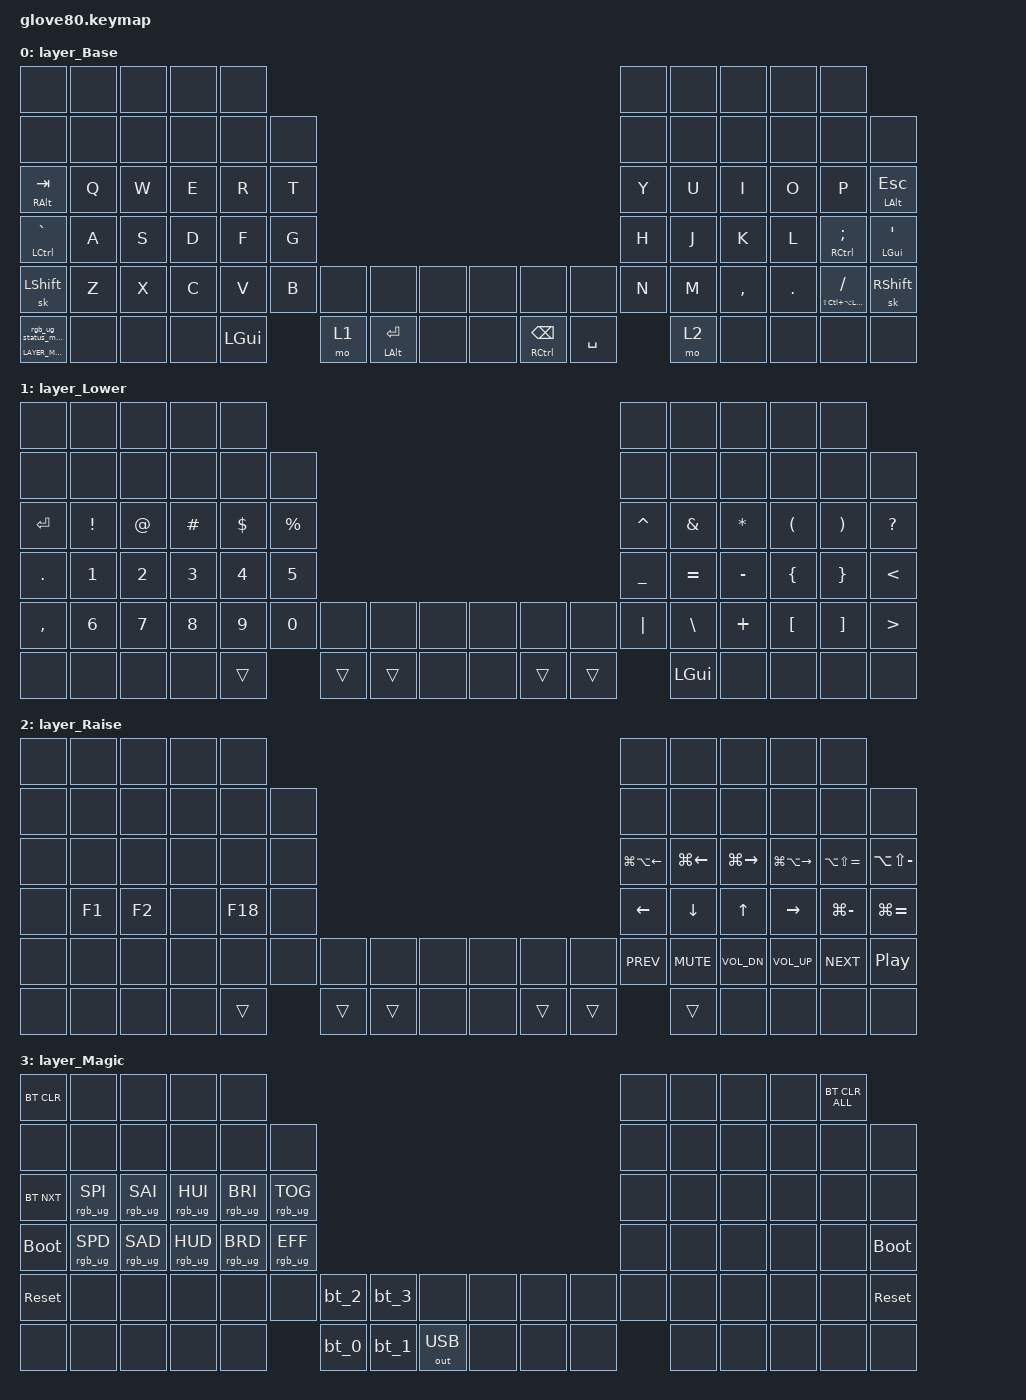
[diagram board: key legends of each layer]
/*
 * Copyright (c) 2020 The ZMK Contributors
 * Copyright (c) 2025 Innaworks Development Limited, trading as MoErgo
 *
 * SPDX-License-Identifier: MIT
 */


/* THIS FILE WAS GENERATED BY GLOVE80 LAYOUT EDITOR
 *
 * This file was generated automatically. You may or may not want to
 * edit it directly.
 */

#include <behaviors.dtsi>
/* Include all behavior includes needed */
#include <dt-bindings/zmk/outputs.h>
#include <dt-bindings/zmk/keys.h>
#include <dt-bindings/zmk/bt.h>
#include <dt-bindings/zmk/rgb.h>

/* On demand includes */


/* Helper Macros, based on https://github.com/urob/zmk-helpers/ */

#pragma once

#define ZMK_HELPER_STRINGIFY(x) #x

// Preprocessor mechanism to overload macros, cf. https://stackoverflow.com/a/27051616/6114651
#define VARGS_(_10, _9, _8, _7, _6, _5, _4, _3, _2, _1, N, ...) N
#define VARGS(...) VARGS_(__VA_ARGS__, 10, 9, 8, 7, 6, 5, 4, 3, 2, 1, 0)
#define CONCAT_(a, b) a##b
#define CONCAT(a, b) CONCAT_(a, b)

#define ZMK_BEHAVIOR_CORE_tap_dance  \
    compatible = "zmk,behavior-tap-dance"; \
    #binding-cells = <0>

#define ZMK_BEHAVIOR(name, type, ...) \
    name: name { \
        ZMK_BEHAVIOR_CORE_ ## type; \
        __VA_ARGS__ \
    };

#define ZMK_TAP_DANCE(name, ...) \
    ZMK_BEHAVIOR(name, tap_dance, __VA_ARGS__)

#define ZMK_TD_LAYER(name, layer) \
    ZMK_TAP_DANCE(name, \
        tapping-term-ms = <200>; \
        bindings = <&mo layer>, <&to layer>; \
)

/* Automatically generated layer name #define */
#define LAYER_Base 0
#define LAYER_Lower 1
#define LAYER_Raise 2
#define LAYER_Magic 3

/* To deal with the situation where there is no Lower layer, to keep &lower happy */
#ifndef LAYER_Lower
#define LAYER_Lower 0
#endif

/* Custom Device-tree */
&mt {
    tapping-term-ms = <180>;
    flavor = "tap-preferred";
    retro-tap;
};

&sk {
    release-after-ms = <2000>;
    quick-release;
};

/* Input Listeners */


/* System behavior and Macros */
/ {
    behaviors {
        ZMK_TD_LAYER(lower, LAYER_Lower)
    };
};

/ {
    macros {
        rgb_ug_status_macro: rgb_ug_status_macro {
            label = "RGB_UG_STATUS";
            compatible = "zmk,behavior-macro";
            #binding-cells = <0>;
            bindings
                = <&rgb_ug RGB_STATUS>;
        };
    };
};


/ {
#ifdef BT_DISC_CMD
    behaviors {
        bt_0: bt_0 {
            compatible = "zmk,behavior-tap-dance";
            label = "BT_0";
            #binding-cells = <0>;
            tapping-term-ms = <200>;
            bindings = <&bt_select_0>, <&bt BT_DISC 0>;
        };
        bt_1: bt_1 {
            compatible = "zmk,behavior-tap-dance";
            label = "BT_1";
            #binding-cells = <0>;
            tapping-term-ms = <200>;
            bindings = <&bt_select_1>, <&bt BT_DISC 1>;
        };
        bt_2: bt_2 {
            compatible = "zmk,behavior-tap-dance";
            label = "BT_2";
            #binding-cells = <0>;
            tapping-term-ms = <200>;
            bindings = <&bt_select_2>, <&bt BT_DISC 2>;
        };
        bt_3: bt_3 {
            compatible = "zmk,behavior-tap-dance";
            label = "BT_3";
            #binding-cells = <0>;
            tapping-term-ms = <200>;
            bindings = <&bt_select_3>, <&bt BT_DISC 3>;
        };
    };
    macros {
        bt_select_0: bt_select_0 {
            label = "BT_SELECT_0";
            compatible = "zmk,behavior-macro";
            #binding-cells = <0>;
            bindings
                = <&out OUT_BLE>,
                  <&bt BT_SEL 0>;
        };
        bt_select_1: bt_select_1 {
            label = "BT_SELECT_1";
            compatible = "zmk,behavior-macro";
            #binding-cells = <0>;
            bindings
                = <&out OUT_BLE>,
                  <&bt BT_SEL 1>;
        };
        bt_select_2: bt_select_2 {
            label = "BT_SELECT_2";
            compatible = "zmk,behavior-macro";
            #binding-cells = <0>;
            bindings
                = <&out OUT_BLE>,
                  <&bt BT_SEL 2>;
        };
        bt_select_3: bt_select_3 {
            label = "BT_SELECT_3";
            compatible = "zmk,behavior-macro";
            #binding-cells = <0>;
            bindings
                = <&out OUT_BLE>,
                  <&bt BT_SEL 3>;
        };
    };
#else
    macros {
        bt_0: bt_0 {
            label = "BT_0";
            compatible = "zmk,behavior-macro";
            #binding-cells = <0>;
            bindings
                = <&out OUT_BLE>,
                  <&bt BT_SEL 0>;
        };
        bt_1: bt_1 {
            label = "BT_1";
            compatible = "zmk,behavior-macro";
            #binding-cells = <0>;
            bindings
                = <&out OUT_BLE>,
                  <&bt BT_SEL 1>;
        };
        bt_2: bt_2 {
            label = "BT_2";
            compatible = "zmk,behavior-macro";
            #binding-cells = <0>;
            bindings
                = <&out OUT_BLE>,
                  <&bt BT_SEL 2>;
        };
        bt_3: bt_3 {
            label = "BT_3";
            compatible = "zmk,behavior-macro";
            #binding-cells = <0>;
            bindings
                = <&out OUT_BLE>,
                  <&bt BT_SEL 3>;
        };
    };
#endif
};

/ {
    behaviors {
        magic: magic {
            compatible = "zmk,behavior-hold-tap";
            label = "MAGIC_HOLD_TAP";
            #binding-cells = <2>;
            flavor = "tap-preferred";
            tapping-term-ms = <200>;
            bindings = <&mo>, <&rgb_ug_status_macro>;
        };
    };
};

/* #define for key positions */
#define POS_LH_T1 52
#define POS_LH_T2 53
#define POS_LH_T3 54
#define POS_LH_T4 69
#define POS_LH_T5 70
#define POS_LH_T6 71
#define POS_LH_C1R2 15
#define POS_LH_C1R3 27
#define POS_LH_C1R4 39
#define POS_LH_C1R5 51
#define POS_LH_C2R1 4
#define POS_LH_C2R2 14
#define POS_LH_C2R3 26
#define POS_LH_C2R4 38
#define POS_LH_C2R5 50
#define POS_LH_C2R6 68
#define POS_LH_C3R1 3
#define POS_LH_C3R2 13
#define POS_LH_C3R3 25
#define POS_LH_C3R4 37
#define POS_LH_C3R5 49
#define POS_LH_C3R6 67
#define POS_LH_C4R1 2
#define POS_LH_C4R2 12
#define POS_LH_C4R3 24
#define POS_LH_C4R4 36
#define POS_LH_C4R5 48
#define POS_LH_C4R6 66
#define POS_LH_C5R1 1
#define POS_LH_C5R2 11
#define POS_LH_C5R3 23
#define POS_LH_C5R4 35
#define POS_LH_C5R5 47
#define POS_LH_C5R6 65
#define POS_LH_C6R1 0
#define POS_LH_C6R2 10
#define POS_LH_C6R3 22
#define POS_LH_C6R4 34
#define POS_LH_C6R5 46
#define POS_LH_C6R6 64
#define POS_RH_T1 57
#define POS_RH_T2 56
#define POS_RH_T3 55
#define POS_RH_T4 74
#define POS_RH_T5 73
#define POS_RH_T6 72
#define POS_RH_C1R2 16
#define POS_RH_C1R3 28
#define POS_RH_C1R4 40
#define POS_RH_C1R5 58
#define POS_RH_C2R1 5
#define POS_RH_C2R2 17
#define POS_RH_C2R3 29
#define POS_RH_C2R4 41
#define POS_RH_C2R5 59
#define POS_RH_C2R6 75
#define POS_RH_C3R1 6
#define POS_RH_C3R2 18
#define POS_RH_C3R3 30
#define POS_RH_C3R4 42
#define POS_RH_C3R5 60
#define POS_RH_C3R6 76
#define POS_RH_C4R1 7
#define POS_RH_C4R2 19
#define POS_RH_C4R3 31
#define POS_RH_C4R4 43
#define POS_RH_C4R5 61
#define POS_RH_C4R6 77
#define POS_RH_C5R1 8
#define POS_RH_C5R2 20
#define POS_RH_C5R3 32
#define POS_RH_C5R4 44
#define POS_RH_C5R5 62
#define POS_RH_C5R6 78
#define POS_RH_C6R1 9
#define POS_RH_C6R2 21
#define POS_RH_C6R3 33
#define POS_RH_C6R4 45
#define POS_RH_C6R5 63
#define POS_RH_C6R6 79

/* Custom Defined Behaviors */
/ {

#define HYP(key) LS(LC(LA(LG(key))))
#define HYPER LS(LC(LA(LGUI)))
#define MACLOCK  LG(LC(Q))
#define EMPTYBIN LG(LS(BACKSPACE))

#define BROWSER_NEWTAB LG(T)
#define BROWSER_CLOSETAB LG(W)
#define BROWSER_NEXTTAB LG(LA(RIGHT))
#define BROWSER_PREVTAB LG(LA(LEFT))
#define BROWSER_NEXTPAGE LG(RIGHT)
#define BROWSER_PREVPAGE LG(LEFT)

// NOTE: Use the `#define` settings below to customize this keymap!
// For example, here are the main optional features you can enable:
#define DIFFICULTY_LEVEL  0 // 0:custom, 1:easy -> 5:hard (see below)
// TIP: Add more setting overrides here instead of editing them below.

//////////////////////////////////////////////////////////////////////////////
//
// Advanced Home Row Mods (HRM) Example based on
// Sunaku's Keymap v35 -- "Glorious Engrammer"
// - https://github.com/sunaku/glove80-keymaps
//
//////////////////////////////////////////////////////////////////////////////

//
// DIFFICULTY_LEVEL specifies your level of expertise with this keymap.
// It's meant to help newcomers gradually work their way up to mastery.
// You can disable this setting by omitting it or assigning a `0` zero.
//
// #define DIFFICULTY_LEVEL 0 // custom (see defaults below)
// #define DIFFICULTY_LEVEL 1 // novice (500ms)
// #define DIFFICULTY_LEVEL 2 // slower (400ms)
// #define DIFFICULTY_LEVEL 3 // normal (300ms)
#define DIFFICULTY_LEVEL 4 // faster (200ms)
// #define DIFFICULTY_LEVEL 5 // expert (100ms)
//
#if defined(DIFFICULTY_LEVEL) && DIFFICULTY_LEVEL > 0
#define DIFFICULTY_THRESHOLD ((6-DIFFICULTY_LEVEL)*100)
#ifndef HOMEY_HOLDING_TIME
#define HOMEY_HOLDING_TIME DIFFICULTY_THRESHOLD
#endif
#ifndef INDEX_HOLDING_TIME
#define INDEX_HOLDING_TIME DIFFICULTY_THRESHOLD
#endif
#endif

behaviors {

    //////////////////////////////////////////////////////////////////////////
    //
    // Miryoku layers and home row mods (ported from my QMK endgame)
    // - https://sunaku.github.io/home-row-mods.html#porting-to-zmk
    // - https://github.com/urob/zmk-config#timeless-homerow-mods
    //
    //////////////////////////////////////////////////////////////////////////

    //
    // HOMEY_HOLDING_TYPE defines the flavor of ZMK hold-tap behavior to use
    // for the pinky, ring, and middle fingers (which are assigned to Super,
    // Alt, and Ctrl respectively in the Miryoku system) on home row keys.
    //
    #ifndef HOMEY_HOLDING_TYPE
    #define HOMEY_HOLDING_TYPE "tap-preferred"
    #endif

    //
    // HOMEY_HOLDING_TIME defines how long you need to hold (milliseconds)
    // home row mod keys in order to send their modifiers to the computer
    // (i.e. "register" them) for mod-click mouse usage (e.g. Ctrl-Click).
    //
    #ifndef HOMEY_HOLDING_TIME
    #define HOMEY_HOLDING_TIME 270 // TAPPING_TERM + ALLOW_CROSSOVER_AFTER
    #endif

    //
    // HOMEY_STREAK_DECAY defines how long you need to wait (milliseconds)
    // after typing before you can use home row mods again.  It prevents
    // unintended activation of home row mods when you're actively typing.
    //
    #ifndef HOMEY_STREAK_DECAY
    #define HOMEY_STREAK_DECAY 250
    #endif

    //
    // HOMEY_REPEAT_DECAY defines how much time you have left (milliseconds)
    // after tapping a key to hold it again in order to make it auto-repeat.
    //
    #ifndef HOMEY_REPEAT_DECAY
    #define HOMEY_REPEAT_DECAY 300 // "tap then hold" for key auto-repeat
    #endif

    //
    // INDEX_HOLDING_TYPE defines the flavor of ZMK hold-tap behavior to use
    // for index fingers (which Miryoku assign to Shift) on home row keys.
    //
    #ifndef INDEX_HOLDING_TYPE
    #define INDEX_HOLDING_TYPE "tap-preferred"
    #endif

    //
    // INDEX_HOLDING_TIME defines how long you need to hold (milliseconds)
    // index finger keys in order to send their modifiers to the computer
    // (i.e. "register" them) for mod-click mouse usage (e.g. Shift-Click).
    //
    #ifndef INDEX_HOLDING_TIME
    #define INDEX_HOLDING_TIME 170
    #endif

    //
    // INDEX_STREAK_DECAY defines how long you need to wait (milliseconds)
    // after typing before you can use home row mods again.  It prevents
    // unintended activation of home row mods when you're actively typing.
    //
    #ifndef INDEX_STREAK_DECAY
    #define INDEX_STREAK_DECAY 150
    #endif

    //
    // INDEX_REPEAT_DECAY defines how much time you have left (milliseconds)
    // after tapping a key to hold it again in order to make it auto-repeat.
    //
    #ifndef INDEX_REPEAT_DECAY
    #define INDEX_REPEAT_DECAY 300 // "tap then hold" for key auto-repeat
    #endif

    //
    // Glove80 key positions index for positional hold-tap
    // - https://discord.com/channels/877392805654306816/937645688244826154/1066713913351221248
    // - https://media.discordapp.net/attachments/937645688244826154/1066713913133121556/image.png
    //
    // |------------------------|------------------------|
    // | LEFT_HAND_KEYS         |        RIGHT_HAND_KEYS |
    // |                        |                        |
    // |  0  1  2  3  4         |          5  6  7  8  9 |
    // | 10 11 12 13 14 15      |      16 17 18 19 20 21 |
    // | 22 23 24 25 26 27      |      28 29 30 31 32 33 |
    // | 34 35 36 37 38 39      |      40 41 42 43 44 45 |
    // | 46 47 48 49 50 51      |      58 59 60 61 62 63 |
    // | 64 65 66 67 68         |         75 76 77 78 79 |
    // |                69 52   |   57 74                |
    // |                 70 53  |  56 73                 |
    // |                  71 54 | 55 72                  |
    // |------------------------|------------------------|
    //
    #define LEFT_HAND_KEYS      \
          0  1  2  3  4         \
         10 11 12 13 14 15      \
         22 23 24 25 26 27      \
         34 35 36 37 38 39      \
         46 47 48 49 50 51      \
         64 65 66 67 68
    #define RIGHT_HAND_KEYS     \
                                           5  6  7  8  9 \
                                       16 17 18 19 20 21 \
                                       28 29 30 31 32 33 \
                                       40 41 42 43 44 45 \
                                       58 59 60 61 62 63 \
                                          75 76 77 78 79
    #define THUMB_KEYS          \
                        69 52       57 74                \
                         70 53     56 73                 \
                          71 54   55 72

    //
    // Home row mods with per-finger configuration settings
    //
    #ifndef PINKY_HOLDING_TYPE
    #define PINKY_HOLDING_TYPE HOMEY_HOLDING_TYPE
    #endif
    #ifndef PINKY_HOLDING_TIME
    #define PINKY_HOLDING_TIME HOMEY_HOLDING_TIME
    #endif
    #ifndef PINKY_STREAK_DECAY
    #define PINKY_STREAK_DECAY HOMEY_STREAK_DECAY
    #endif
    #ifndef PINKY_REPEAT_DECAY
    #define PINKY_REPEAT_DECAY HOMEY_REPEAT_DECAY
    #endif
    #ifndef RING1_HOLDING_TYPE
    #define RING1_HOLDING_TYPE HOMEY_HOLDING_TYPE
    #endif
    #ifndef RING1_HOLDING_TIME
    #define RING1_HOLDING_TIME HOMEY_HOLDING_TIME
    #endif
    #ifndef RING1_STREAK_DECAY
    #define RING1_STREAK_DECAY HOMEY_STREAK_DECAY
    #endif
    #ifndef RING1_REPEAT_DECAY
    #define RING1_REPEAT_DECAY HOMEY_REPEAT_DECAY
    #endif
    #ifndef RING2_HOLDING_TYPE
    #define RING2_HOLDING_TYPE HOMEY_HOLDING_TYPE
    #endif
    #ifndef RING2_HOLDING_TIME
    #define RING2_HOLDING_TIME HOMEY_HOLDING_TIME
    #endif
    #ifndef RING2_STREAK_DECAY
    #define RING2_STREAK_DECAY HOMEY_STREAK_DECAY
    #endif
    #ifndef RING2_REPEAT_DECAY
    #define RING2_REPEAT_DECAY HOMEY_REPEAT_DECAY
    #endif
    #ifndef MIDDY_HOLDING_TYPE
    #define MIDDY_HOLDING_TYPE HOMEY_HOLDING_TYPE
    #endif
    #ifndef MIDDY_HOLDING_TIME
    #define MIDDY_HOLDING_TIME HOMEY_HOLDING_TIME
    #endif
    #ifndef MIDDY_STREAK_DECAY
    #define MIDDY_STREAK_DECAY HOMEY_STREAK_DECAY
    #endif
    #ifndef MIDDY_REPEAT_DECAY
    #define MIDDY_REPEAT_DECAY HOMEY_REPEAT_DECAY
    #endif
    #ifndef INDEX_HOLDING_TYPE
    #define INDEX_HOLDING_TYPE HOMEY_HOLDING_TYPE
    #endif
    #ifndef INDEX_HOLDING_TIME
    #define INDEX_HOLDING_TIME HOMEY_HOLDING_TIME
    #endif
    #ifndef INDEX_STREAK_DECAY
    #define INDEX_STREAK_DECAY HOMEY_STREAK_DECAY
    #endif
    #ifndef INDEX_REPEAT_DECAY
    #define INDEX_REPEAT_DECAY HOMEY_REPEAT_DECAY
    #endif
    #ifndef LEFT_PINKY_HOLDING_TYPE
    #define LEFT_PINKY_HOLDING_TYPE PINKY_HOLDING_TYPE
    #endif
    #ifndef LEFT_PINKY_HOLDING_TIME
    #define LEFT_PINKY_HOLDING_TIME PINKY_HOLDING_TIME
    #endif
    #ifndef LEFT_PINKY_STREAK_DECAY
    #define LEFT_PINKY_STREAK_DECAY PINKY_STREAK_DECAY
    #endif
    #ifndef LEFT_PINKY_REPEAT_DECAY
    #define LEFT_PINKY_REPEAT_DECAY PINKY_REPEAT_DECAY
    #endif
    left_pinky: homey_left_pinky {
        compatible = "zmk,behavior-hold-tap";
        flavor = LEFT_PINKY_HOLDING_TYPE;
        hold-trigger-key-positions = <RIGHT_HAND_KEYS THUMB_KEYS>;
        hold-trigger-on-release; // wait for other home row mods
        tapping-term-ms = <LEFT_PINKY_HOLDING_TIME>;
        quick-tap-ms = <LEFT_PINKY_REPEAT_DECAY>;
        require-prior-idle-ms = <LEFT_PINKY_STREAK_DECAY>;
        #binding-cells = <2>;
        bindings = <&kp>, <&kp>;
    };
    #ifndef RIGHT_PINKY_HOLDING_TYPE
    #define RIGHT_PINKY_HOLDING_TYPE PINKY_HOLDING_TYPE
    #endif
    #ifndef RIGHT_PINKY_HOLDING_TIME
    #define RIGHT_PINKY_HOLDING_TIME PINKY_HOLDING_TIME
    #endif
    #ifndef RIGHT_PINKY_STREAK_DECAY
    #define RIGHT_PINKY_STREAK_DECAY PINKY_STREAK_DECAY
    #endif
    #ifndef RIGHT_PINKY_REPEAT_DECAY
    #define RIGHT_PINKY_REPEAT_DECAY PINKY_REPEAT_DECAY
    #endif
    right_pinky: homey_right_pinky {
        compatible = "zmk,behavior-hold-tap";
        flavor = RIGHT_PINKY_HOLDING_TYPE;
        hold-trigger-key-positions = <LEFT_HAND_KEYS THUMB_KEYS>;
        hold-trigger-on-release; // wait for other home row mods
        tapping-term-ms = <RIGHT_PINKY_HOLDING_TIME>;
        quick-tap-ms = <RIGHT_PINKY_REPEAT_DECAY>;
        require-prior-idle-ms = <RIGHT_PINKY_STREAK_DECAY>;
        #binding-cells = <2>;
        bindings = <&kp>, <&kp>;
    };
    #ifndef LEFT_RING1_HOLDING_TYPE
    #define LEFT_RING1_HOLDING_TYPE RING1_HOLDING_TYPE
    #endif
    #ifndef LEFT_RING1_HOLDING_TIME
    #define LEFT_RING1_HOLDING_TIME RING1_HOLDING_TIME
    #endif
    #ifndef LEFT_RING1_STREAK_DECAY
    #define LEFT_RING1_STREAK_DECAY RING1_STREAK_DECAY
    #endif
    #ifndef LEFT_RING1_REPEAT_DECAY
    #define LEFT_RING1_REPEAT_DECAY RING1_REPEAT_DECAY
    #endif
    left_ring1: homey_left_ring1 {
        compatible = "zmk,behavior-hold-tap";
        flavor = LEFT_RING1_HOLDING_TYPE;
        hold-trigger-key-positions = <RIGHT_HAND_KEYS THUMB_KEYS>;
        hold-trigger-on-release; // wait for other home row mods
        tapping-term-ms = <LEFT_RING1_HOLDING_TIME>;
        quick-tap-ms = <LEFT_RING1_REPEAT_DECAY>;
        require-prior-idle-ms = <LEFT_RING1_STREAK_DECAY>;
        #binding-cells = <2>;
        bindings = <&kp>, <&kp>;
    };
    #ifndef RIGHT_RING1_HOLDING_TYPE
    #define RIGHT_RING1_HOLDING_TYPE RING1_HOLDING_TYPE
    #endif
    #ifndef RIGHT_RING1_HOLDING_TIME
    #define RIGHT_RING1_HOLDING_TIME RING1_HOLDING_TIME
    #endif
    #ifndef RIGHT_RING1_STREAK_DECAY
    #define RIGHT_RING1_STREAK_DECAY RING1_STREAK_DECAY
    #endif
    #ifndef RIGHT_RING1_REPEAT_DECAY
    #define RIGHT_RING1_REPEAT_DECAY RING1_REPEAT_DECAY
    #endif
    right_ring1: homey_right_ring1 {
        compatible = "zmk,behavior-hold-tap";
        flavor = RIGHT_RING1_HOLDING_TYPE;
        hold-trigger-key-positions = <LEFT_HAND_KEYS THUMB_KEYS>;
        hold-trigger-on-release; // wait for other home row mods
        tapping-term-ms = <RIGHT_RING1_HOLDING_TIME>;
        quick-tap-ms = <RIGHT_RING1_REPEAT_DECAY>;
        require-prior-idle-ms = <RIGHT_RING1_STREAK_DECAY>;
        #binding-cells = <2>;
        bindings = <&kp>, <&kp>;
    };
    #ifndef LEFT_RING2_HOLDING_TYPE
    #define LEFT_RING2_HOLDING_TYPE RING2_HOLDING_TYPE
    #endif
    #ifndef LEFT_RING2_HOLDING_TIME
    #define LEFT_RING2_HOLDING_TIME RING2_HOLDING_TIME
    #endif
    #ifndef LEFT_RING2_STREAK_DECAY
    #define LEFT_RING2_STREAK_DECAY RING2_STREAK_DECAY
    #endif
    #ifndef LEFT_RING2_REPEAT_DECAY
    #define LEFT_RING2_REPEAT_DECAY RING2_REPEAT_DECAY
    #endif
    left_ring2: homey_left_ring2 {
        compatible = "zmk,behavior-hold-tap";
        flavor = LEFT_RING2_HOLDING_TYPE;
        hold-trigger-key-positions = <RIGHT_HAND_KEYS THUMB_KEYS>;
        hold-trigger-on-release; // wait for other home row mods
        tapping-term-ms = <LEFT_RING2_HOLDING_TIME>;
        quick-tap-ms = <LEFT_RING2_REPEAT_DECAY>;
        require-prior-idle-ms = <LEFT_RING2_STREAK_DECAY>;
        #binding-cells = <2>;
        bindings = <&kp>, <&kp>;
    };
    #ifndef RIGHT_RING2_HOLDING_TYPE
    #define RIGHT_RING2_HOLDING_TYPE RING2_HOLDING_TYPE
    #endif
    #ifndef RIGHT_RING2_HOLDING_TIME
    #define RIGHT_RING2_HOLDING_TIME RING2_HOLDING_TIME
    #endif
    #ifndef RIGHT_RING2_STREAK_DECAY
    #define RIGHT_RING2_STREAK_DECAY RING2_STREAK_DECAY
    #endif
    #ifndef RIGHT_RING2_REPEAT_DECAY
    #define RIGHT_RING2_REPEAT_DECAY RING2_REPEAT_DECAY
    #endif
    right_ring2: homey_right_ring2 {
        compatible = "zmk,behavior-hold-tap";
        flavor = RIGHT_RING2_HOLDING_TYPE;
        hold-trigger-key-positions = <LEFT_HAND_KEYS THUMB_KEYS>;
        hold-trigger-on-release; // wait for other home row mods
        tapping-term-ms = <RIGHT_RING2_HOLDING_TIME>;
        quick-tap-ms = <RIGHT_RING2_REPEAT_DECAY>;
        require-prior-idle-ms = <RIGHT_RING2_STREAK_DECAY>;
        #binding-cells = <2>;
        bindings = <&kp>, <&kp>;
    };
    #ifndef LEFT_MIDDY_HOLDING_TYPE
    #define LEFT_MIDDY_HOLDING_TYPE MIDDY_HOLDING_TYPE
    #endif
    #ifndef LEFT_MIDDY_HOLDING_TIME
    #define LEFT_MIDDY_HOLDING_TIME MIDDY_HOLDING_TIME
    #endif
    #ifndef LEFT_MIDDY_STREAK_DECAY
    #define LEFT_MIDDY_STREAK_DECAY MIDDY_STREAK_DECAY
    #endif
    #ifndef LEFT_MIDDY_REPEAT_DECAY
    #define LEFT_MIDDY_REPEAT_DECAY MIDDY_REPEAT_DECAY
    #endif
    left_middy: homey_left_middy {
        compatible = "zmk,behavior-hold-tap";
        flavor = LEFT_MIDDY_HOLDING_TYPE;
        hold-trigger-key-positions = <RIGHT_HAND_KEYS THUMB_KEYS>;
        hold-trigger-on-release; // wait for other home row mods
        tapping-term-ms = <LEFT_MIDDY_HOLDING_TIME>;
        quick-tap-ms = <LEFT_MIDDY_REPEAT_DECAY>;
        require-prior-idle-ms = <LEFT_MIDDY_STREAK_DECAY>;
        #binding-cells = <2>;
        bindings = <&kp>, <&kp>;
    };
    #ifndef RIGHT_MIDDY_HOLDING_TYPE
    #define RIGHT_MIDDY_HOLDING_TYPE MIDDY_HOLDING_TYPE
    #endif
    #ifndef RIGHT_MIDDY_HOLDING_TIME
    #define RIGHT_MIDDY_HOLDING_TIME MIDDY_HOLDING_TIME
    #endif
    #ifndef RIGHT_MIDDY_STREAK_DECAY
    #define RIGHT_MIDDY_STREAK_DECAY MIDDY_STREAK_DECAY
    #endif
    #ifndef RIGHT_MIDDY_REPEAT_DECAY
    #define RIGHT_MIDDY_REPEAT_DECAY MIDDY_REPEAT_DECAY
    #endif
    right_middy: homey_right_middy {
        compatible = "zmk,behavior-hold-tap";
        flavor = RIGHT_MIDDY_HOLDING_TYPE;
        hold-trigger-key-positions = <LEFT_HAND_KEYS THUMB_KEYS>;
        hold-trigger-on-release; // wait for other home row mods
        tapping-term-ms = <RIGHT_MIDDY_HOLDING_TIME>;
        quick-tap-ms = <RIGHT_MIDDY_REPEAT_DECAY>;
        require-prior-idle-ms = <RIGHT_MIDDY_STREAK_DECAY>;
        #binding-cells = <2>;
        bindings = <&kp>, <&kp>;
    };
    #ifndef LEFT_INDEX_HOLDING_TYPE
    #define LEFT_INDEX_HOLDING_TYPE INDEX_HOLDING_TYPE
    #endif
    #ifndef LEFT_INDEX_HOLDING_TIME
    #define LEFT_INDEX_HOLDING_TIME INDEX_HOLDING_TIME
    #endif
    #ifndef LEFT_INDEX_STREAK_DECAY
    #define LEFT_INDEX_STREAK_DECAY INDEX_STREAK_DECAY
    #endif
    #ifndef LEFT_INDEX_REPEAT_DECAY
    #define LEFT_INDEX_REPEAT_DECAY INDEX_REPEAT_DECAY
    #endif
    left_index: homey_left_index {
        compatible = "zmk,behavior-hold-tap";
        flavor = LEFT_INDEX_HOLDING_TYPE;
        hold-trigger-key-positions = <RIGHT_HAND_KEYS THUMB_KEYS>;
        hold-trigger-on-release; // wait for other home row mods
        tapping-term-ms = <LEFT_INDEX_HOLDING_TIME>;
        quick-tap-ms = <LEFT_INDEX_REPEAT_DECAY>;
        require-prior-idle-ms = <LEFT_INDEX_STREAK_DECAY>;
        #binding-cells = <2>;
        bindings = <&kp>, <&kp>;
    };
    #ifndef RIGHT_INDEX_HOLDING_TYPE
    #define RIGHT_INDEX_HOLDING_TYPE INDEX_HOLDING_TYPE
    #endif
    #ifndef RIGHT_INDEX_HOLDING_TIME
    #define RIGHT_INDEX_HOLDING_TIME INDEX_HOLDING_TIME
    #endif
    #ifndef RIGHT_INDEX_STREAK_DECAY
    #define RIGHT_INDEX_STREAK_DECAY INDEX_STREAK_DECAY
    #endif
    #ifndef RIGHT_INDEX_REPEAT_DECAY
    #define RIGHT_INDEX_REPEAT_DECAY INDEX_REPEAT_DECAY
    #endif
    right_index: homey_right_index {
        compatible = "zmk,behavior-hold-tap";
        flavor = RIGHT_INDEX_HOLDING_TYPE;
        hold-trigger-key-positions = <LEFT_HAND_KEYS THUMB_KEYS>;
        hold-trigger-on-release; // wait for other home row mods
        tapping-term-ms = <RIGHT_INDEX_HOLDING_TIME>;
        quick-tap-ms = <RIGHT_INDEX_REPEAT_DECAY>;
        require-prior-idle-ms = <RIGHT_INDEX_STREAK_DECAY>;
        #binding-cells = <2>;
        bindings = <&kp>, <&kp>;
    };
    #ifndef THUMB_HOLDING_TYPE
    #define THUMB_HOLDING_TYPE "tap-preferred"
    #endif

    #ifndef THUMB_HOLDING_TIME
    #define THUMB_HOLDING_TIME 180
    #endif

    #ifndef THUMB_STREAK_DECAY
    #define THUMB_STREAK_DECAY 50
    #endif

    #ifndef THUMB_REPEAT_DECAY
    #define THUMB_REPEAT_DECAY 160 // "tap then hold" for key auto-repeat
    #endif
    thumb: thumb_layer_access {
        compatible = "zmk,behavior-hold-tap";
        flavor = THUMB_HOLDING_TYPE;
        tapping-term-ms = <THUMB_HOLDING_TIME>;
        quick-tap-ms = <THUMB_REPEAT_DECAY>; // enable repeat
        #binding-cells = <2>;
        bindings = <&kp>, <&kp>;
    };

    // Custom behavior: tap for keycode, hold for lgui + layer access
    lgui_layer: lgui_layer_tap {
        compatible = "zmk,behavior-hold-tap";
        label = "LGUI_LAYER";
        #binding-cells = <2>;
        flavor = "tap-preferred";
        tapping-term-ms = <200>;
        quick-tap-ms = <150>;
        bindings = <&mo_lgui>, <&kp>;
    };

    // Helper behavior to activate layer 0 AND send lgui
    mo_lgui: momentary_lgui {
        compatible = "zmk,behavior-macro-one-param";
        #binding-cells = <1>;
        bindings = <&macro_press &mo 0 &kp LGUI>
                 , <&macro_pause_for_release>
                 , <&macro_release &mo 0 &kp LGUI>;
    };

};
};

/* Generated input processors */


/* Automatically generated macro definitions */
/ {
    macros {

        cur_SELECT_ALL_v1_TKZ: cur_SELECT_ALL_v1_TKZ {
            label = "&CUR_SELECT_ALL_V1_TKZ";
            compatible = "zmk,behavior-macro";
            #binding-cells = <0>;
            tap-ms = <30>;
            wait-ms = <15>;
            bindings = <&kp LG(A)>;
        };

        cur_COPY_HOLD: cur_COPY_HOLD {
            label = "&CUR_COPY_HOLD";
            compatible = "zmk,behavior-macro";
            #binding-cells = <0>;
            tap-ms = <30>;
            wait-ms = <20>;
            bindings = <&macro_press>
                , <&kp LGUI>
                , <&macro_tap>
                , <&kp C>
                , <&macro_release>
                , <&kp LGUI>;
        };

        cur_PASTE_HOLD: cur_PASTE_HOLD {
            label = "&CUR_PASTE_HOLD";
            compatible = "zmk,behavior-macro";
            #binding-cells = <0>;
            tap-ms = <30>;
            wait-ms = <20>;
            bindings = <&macro_press>
                , <&kp LGUI>
                , <&macro_tap>
                , <&kp V>
                , <&macro_release>
                , <&kp LGUI>;
        };
    };
};

/* Automatically generated behavior definitions */
/ {
    behaviors {


        // number layer
        left_middle_v2_TKZ: left_middle_v2_TKZ {
            compatible = "zmk,behavior-hold-tap";
            #binding-cells = <2>;
            tapping-term-ms = <120>;
            bindings = <&mo>, <&kp>;
            flavor = "tap-preferred";
            quick-tap-ms = <250>;
            require-prior-idle-ms = <50>;
            hold-trigger-key-positions = <73 28 42 58 59 60 61 62 63 44 45 43 40 41 29 30 31 32 33 74>;
            hold-trigger-on-release;
        };

        // symbol layer
        right_thumb_v2_TKZ: right_thumb_v2_TKZ {
            compatible = "zmk,behavior-hold-tap";
            #binding-cells = <2>;
            tapping-term-ms = <180>;
            bindings = <&mo>, <&kp>;
            flavor = "tap-preferred";
            quick-tap-ms = <160>;
            require-prior-idle-ms = <50>;
            hold-trigger-key-positions = <30 31 43 42 41 28 40 29>;
        };

        // cursor layer
        left_thumb_v2_TKZ: left_thumb_v2_TKZ {
            compatible = "zmk,behavior-hold-tap";
            #binding-cells = <2>;
            tapping-term-ms = <180>;
            bindings = <&mo>, <&kp>;
            flavor = "tap-preferred";
            quick-tap-ms = <150>;
            require-prior-idle-ms = <50>;
            hold-trigger-key-positions = <73 74 59 41 29 30 31 42 43 40 22 35 47 48 36 24 25 26 27 39 51 50 49 37 38 68 58 28 32 33>;
        };

        // symbol layer
        right_thumb_first_v2_TKZ: right_thumb_first_v2_TKZ {
            compatible = "zmk,behavior-hold-tap";
            #binding-cells = <2>;
            tapping-term-ms = <170>;
            bindings = <&mo>, <&kp>;
            flavor = "tap-preferred";
            quick-tap-ms = <160>;
            require-prior-idle-ms = <50>;
            hold-trigger-key-positions = <51 39 27 26 25 24 23 35 47 48 49 50 38 37 36 41 59 60 61 62 22 68 58 40 28 29 30 31 42 43 33>;
        };

        // symbol layer
        left_thumb_first_v2_TKZ: left_thumb_first_v2_TKZ {
            compatible = "zmk,behavior-hold-tap";
            #binding-cells = <2>;
            tapping-term-ms = <180>;
            bindings = <&mo>, <&kp>;
            flavor = "tap-preferred";
            quick-tap-ms = <160>;
            require-prior-idle-ms = <50>;
            hold-trigger-key-positions = <40 41 29 30 31 43 42 59 60 61 44 62 73 74>;
        };
    };
};

/* Automatically generated combos definitions */
/ {
      combos {
          compatible = "zmk,combos";
                  // capslock when pressed both shifts
        combo_shift_capslock {
            key-positions = <46 63>;
            bindings = <&kp CAPS>;
            layers = <0>;
        };

        // enter when df is both pressed
        combo_enter_left {
            key-positions = <37 38>;
            bindings = <&kp RET>;
            layers = <0>;
        };

        // escape when m,  is both pressed
        combo_backspace_right {
            key-positions = <59 60>;
            bindings = <&kp BSPC>;
            layers = <0>;
        };

        // escape when cv is both pressed
        combo_backspace_left {
            key-positions = <49 50>;
            bindings = <&kp BSPC>;
            layers = <0>;
        };

        // caps lock when Q+P is pressed together
        combo_caps_qp {
            key-positions = <23 32>;
            bindings = <&kp CAPS>;
            layers = <0>;
        };
      };
    };

/* Automatically generated keymap */
/ {
    keymap {
        compatible = "zmk,keymap";


        layer_Base {
            bindings = <
//    ┌────────────────────────┬─────┬─────┬─────┬──────┐                                                                       ┌─────┬──────┬─────┬─────┬──────────────────────┐
//    │                        │     │     │     │      │                                                                       │     │      │     │     │                      │
//    ├────────────────────────┼─────┼─────┼─────┼──────┼─────┐                                                                 ├─────┼──────┼─────┼─────┼──────────────────────┼─────────────┐
//    │                        │     │     │     │      │     │                                                                 │     │      │     │     │                      │             │
//    ├────────────────────────┼─────┼─────┼─────┼──────┼─────┤                                                                 ├─────┼──────┼─────┼─────┼──────────────────────┼─────────────┤
//    │      mt ralt tab       │  Q  │  W  │  E  │  R   │  T  │                                                                 │  Y  │  U   │  I  │  O  │          P           │ mt lalt esc │
//    ├────────────────────────┼─────┼─────┼─────┼──────┼─────┤                                                                 ├─────┼──────┼─────┼─────┼──────────────────────┼─────────────┤
//    │       mt lctl `        │  A  │  S  │  D  │  F   │  G  │                                                                 │  H  │  J   │  K  │  L  │      mt rctl ;       │  mt lgui '  │
//    ├────────────────────────┼─────┼─────┼─────┼──────┼─────┼──────┬─────────────────┬─────┐   ┌─────┬──────────────────┬─────┼─────┼──────┼─────┼─────┼──────────────────────┼─────────────┤
//    │        &sk lsft        │  Z  │  X  │  C  │  V   │  B  │      │                 │     │   │     │                  │     │  N  │  M   │  ,  │  .  │ &right_pinky HYPER / │  &sk rsft   │
//    ├────────────────────────┼─────┼─────┼─────┼──────┼─────┼──────┼─────────────────┼─────┤   ├─────┼──────────────────┼─────┼─────┼──────┼─────┼─────┼──────────────────────┼─────────────┤
//    │ &magic laltYER_Magic 0 │     │     │     │ lgui │     │ mo 1 │ &thumb lalt ent │     │   │     │ &thumb rctl bspc │ spc │     │ mo 2 │     │     │                      │             │
//    └────────────────────────┴─────┴─────┴─────┴──────┘     └──────┴─────────────────┴─────┘   └─────┴──────────────────┴─────┘     └──────┴─────┴─────┴──────────────────────┴─────────────┘
  &none                  &none   &none   &none   &none                                                                                                   &none   &none   &none       &none     &none
  &none                  &none   &none   &none   &none      &none                                                                                        &none   &none   &none       &none     &none                      &none
  &mt RALT TAB           &kp Q   &kp W   &kp E   &kp R      &kp T                                                                                        &kp Y   &kp U   &kp I       &kp O     &kp P                      &mt LALT ESC
  &mt LCTRL GRAVE        &kp A   &kp S   &kp D   &kp F      &kp G                                                                                        &kp H   &kp J   &kp K       &kp L     &mt RCTRL SEMI             &mt LGUI SQT
  &sk LSHFT              &kp Z   &kp X   &kp C   &kp V      &kp B   &none   &none               &none       &none   &none                    &none       &kp N   &kp M   &kp COMMA   &kp DOT   &right_pinky HYPER SLASH   &sk RSHFT
  &magic LAYER_Magic 0   &none   &none   &none   &kp LGUI           &mo 1   &thumb LALT ENTER   &none       &none   &thumb RCTRL BACKSPACE   &kp SPACE           &mo 2   &none       &none     &none                      &none
            >;
        };

        layer_Lower {
            bindings = <
//    ┌─────┬─────┬─────┬─────┬─────┐                                             ┌─────┬─────┬─────┬─────┬─────┐
//    │     │     │     │     │     │                                             │     │     │     │     │     │
//    ├─────┼─────┼─────┼─────┼─────┼─────┐                                       ├─────┼─────┼─────┼─────┼─────┼─────┐
//    │     │     │     │     │     │     │                                       │     │     │     │     │     │     │
//    ├─────┼─────┼─────┼─────┼─────┼─────┤                                       ├─────┼─────┼─────┼─────┼─────┼─────┤
//    │ ent │  !  │  @  │  #  │  $  │  %  │                                       │  ^  │  &  │  *  │  (  │  )  │  ?  │
//    ├─────┼─────┼─────┼─────┼─────┼─────┤                                       ├─────┼─────┼─────┼─────┼─────┼─────┤
//    │  .  │  1  │  2  │  3  │  4  │  5  │                                       │  _  │  =  │  -  │  {  │  }  │  <  │
//    ├─────┼─────┼─────┼─────┼─────┼─────┼─────┬─────┬─────┐   ┌─────┬─────┬─────┼─────┼─────┼─────┼─────┼─────┼─────┤
//    │  ,  │  6  │  7  │  8  │  9  │  0  │     │     │     │   │     │     │     │  |  │  \  │  +  │  [  │  ]  │  >  │
//    ├─────┼─────┼─────┼─────┼─────┼─────┼─────┼─────┼─────┤   ├─────┼─────┼─────┼─────┼─────┼─────┼─────┼─────┼─────┤
//    │     │     │     │     │     │     │     │     │     │   │     │     │     │     │ lgui│     │     │     │     │
//    └─────┴─────┴─────┴─────┴─────┘     └─────┴─────┴─────┘   └─────┴─────┴─────┘     └─────┴─────┴─────┴─────┴─────┘
  &none       &none      &none    &none      &none                                                                          &none       &none       &none       &none      &none
  &none       &none      &none    &none      &none      &none                                                               &none       &none       &none       &none      &none      &none
  &kp RET     &kp EXCL   &kp AT   &kp HASH   &kp DLLR   &kp PRCNT                                                           &kp CARET   &kp AMPS    &kp STAR    &kp LPAR   &kp RPAR   &kp QMARK
  &kp DOT     &kp N1     &kp N2   &kp N3     &kp N4     &kp N5                                                              &kp UNDER   &kp EQUAL   &kp MINUS   &kp LBRC   &kp RBRC   &kp LT
  &kp COMMA   &kp N6     &kp N7   &kp N8     &kp N9     &kp N0      &none    &none    &none       &none   &none    &none    &kp PIPE    &kp BSLH    &kp PLUS    &kp LBKT   &kp RBKT   &kp GT
  &none       &none      &none    &none      &trans                 &trans   &trans   &none       &none   &trans   &trans               &kp LGUI    &none       &none      &none      &none
            >;
        };

        layer_Raise {
            bindings = <
//    ┌─────┬─────┬─────┬──────┬─────┐                                             ┌─────────────────┬──────────────────┬──────────────────┬─────────────────┬───────────────┐
//    │     │     │     │      │     │                                             │                 │                  │                  │                 │               │
//    ├─────┼─────┼─────┼──────┼─────┼─────┐                                       ├─────────────────┼──────────────────┼──────────────────┼─────────────────┼───────────────┼───────────────┐
//    │     │     │     │      │     │     │                                       │                 │                  │                  │                 │               │               │
//    ├─────┼─────┼─────┼──────┼─────┼─────┤                                       ├─────────────────┼──────────────────┼──────────────────┼─────────────────┼───────────────┼───────────────┤
//    │     │     │     │      │     │     │                                       │ BROWSER_PREVtab │ BROWSER_PREVPAGE │ BROWSER_NEXTPAGE │ BROWSER_NEXTtab │ lalt(lsft(=)) │ lalt(lsft(-)) │
//    ├─────┼─────┼─────┼──────┼─────┼─────┤                                       ├─────────────────┼──────────────────┼──────────────────┼─────────────────┼───────────────┼───────────────┤
//    │     │ f1  │ f2  │ caps │     │     │                                       │      left       │       down       │        up        │      rght       │    lgui(-)    │    lgui(=)    │
//    ├─────┼─────┼─────┼──────┼─────┼─────┼─────┬─────┬─────┐   ┌─────┬─────┬─────┼─────────────────┼──────────────────┼──────────────────┼─────────────────┼───────────────┼───────────────┤
//    │     │     │     │      │     │     │     │     │     │   │     │     │     │      prev       │       mute       │       vold       │      volu       │     next      │     play      │
//    ├─────┼─────┼─────┼──────┼─────┼─────┼─────┼─────┼─────┤   ├─────┼─────┼─────┼─────────────────┼──────────────────┼──────────────────┼─────────────────┼───────────────┼───────────────┤
//    │     │     │     │      │     │     │     │     │     │   │     │     │     │                 │                  │                  │                 │               │               │
//    └─────┴─────┴─────┴──────┴─────┘     └─────┴─────┴─────┘   └─────┴─────┴─────┘                 └──────────────────┴──────────────────┴─────────────────┴───────────────┴───────────────┘
  &none   &none    &none    &none      &none                                                                    &none                 &none                  &none                  &none                 &none
  &none   &none    &none    &none      &none    &none                                                           &none                 &none                  &none                  &none                 &none               &none
  &none   &none    &none    &none      &none    &none                                                           &kp BROWSER_PREVTAB   &kp BROWSER_PREVPAGE   &kp BROWSER_NEXTPAGE   &kp BROWSER_NEXTTAB   &kp LA(LS(EQUAL))   &kp LA(LS(MINUS))
  &none   &kp F1   &kp F2   &none      &kp F18  &none                                                           &kp LEFT              &kp DOWN               &kp UP                 &kp RIGHT             &kp LG(MINUS)       &kp LG(EQUAL)
  &none   &none    &none    &none      &none    &none   &none    &none    &none       &none   &none    &none    &kp C_PREV            &kp C_MUTE             &kp C_VOL_DN           &kp C_VOL_UP          &kp C_NEXT          &kp C_PP
  &none   &none    &none    &none      &trans           &trans   &trans   &none       &none   &trans   &trans                         &trans                 &none                  &none                 &none               &none
            >;
        };

        layer_Magic {
            bindings = <
//    ┌────────────┬─────────┬─────────┬─────────┬─────────┐                                                          ┌─────┬─────┬─────┬─────┬────────────┐
//    │   bt_clr   │         │         │         │         │                                                          │     │     │     │     │ bt_clr_ALL │
//    ├────────────┼─────────┼─────────┼─────────┼─────────┼─────────┐                                                ├─────┼─────┼─────┼─────┼────────────┼────────────┐
//    │            │         │         │         │         │         │                                                │     │     │     │     │            │            │
//    ├────────────┼─────────┼─────────┼─────────┼─────────┼─────────┤                                                ├─────┼─────┼─────┼─────┼────────────┼────────────┤
//    │   bt_nxt   │ ug_ sp+ │ ug_ sa+ │ ug_ hu+ │ ug_ br+ │ ug_ tog │                                                │     │     │     │     │            │            │
//    ├────────────┼─────────┼─────────┼─────────┼─────────┼─────────┤                                                ├─────┼─────┼─────┼─────┼────────────┼────────────┤
//    │    boot    │ ug_ sp- │ ug_ sa- │ ug_ hu- │ ug_ br- │ ug_ eff │                                                │     │     │     │     │            │    boot    │
//    ├────────────┼─────────┼─────────┼─────────┼─────────┼─────────┼───────┬───────┬──────────┐   ┌─────┬─────┬─────┼─────┼─────┼─────┼─────┼────────────┼────────────┤
//    │ &sys_reset │         │         │         │         │         │ &bt_2 │ &bt_3 │          │   │     │     │     │     │     │     │     │            │ &sys_reset │
//    ├────────────┼─────────┼─────────┼─────────┼─────────┼─────────┼───────┼───────┼──────────┤   ├─────┼─────┼─────┼─────┼─────┼─────┼─────┼────────────┼────────────┤
//    │            │         │         │         │         │         │ &bt_0 │ &bt_1 │ out_ usb │   │     │     │     │     │     │     │     │            │            │
//    └────────────┴─────────┴─────────┴─────────┴─────────┘         └───────┴───────┴──────────┘   └─────┴─────┴─────┘     └─────┴─────┴─────┴────────────┴────────────┘
  &bt BT_CLR    &none             &none             &none             &none                                                                                          &none   &none   &none   &none   &bt BT_CLR_ALL
  &none         &none             &none             &none             &none             &none                                                                        &none   &none   &none   &none   &none            &none
  &bt BT_NXT    &rgb_ug RGB_SPI   &rgb_ug RGB_SAI   &rgb_ug RGB_HUI   &rgb_ug RGB_BRI   &rgb_ug RGB_TOG                                                              &none   &none   &none   &none   &none            &none
  &bootloader   &rgb_ug RGB_SPD   &rgb_ug RGB_SAD   &rgb_ug RGB_HUD   &rgb_ug RGB_BRD   &rgb_ug RGB_EFF                                                              &none   &none   &none   &none   &none            &bootloader
  &sys_reset    &none             &none             &none             &none             &none             &bt_2   &bt_3   &none              &none   &none   &none   &none   &none   &none   &none   &none            &sys_reset
  &none         &none             &none             &none             &none                               &bt_0   &bt_1   &out OUT_USB       &none   &none   &none           &none   &none   &none   &none            &none
            >;
        };

    };
};
